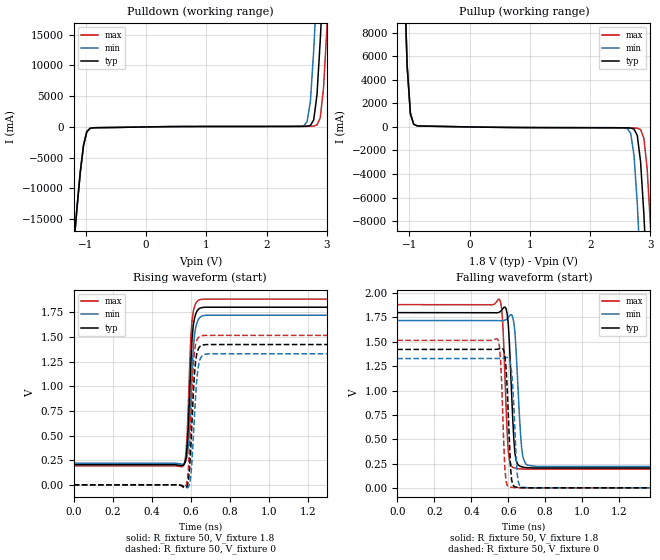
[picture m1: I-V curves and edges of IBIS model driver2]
| IBIS file inv_chain_500ps.ibs created by PYS2IBIS3
| Missouri S&T EMC Lab
[IBIS Ver] 7.1
[File Name] inv_chain_500ps.ibs
[File Rev] 1.0
[Date] Jul 27, 2026
[Source] Eight-stage inv_chain transistor model characterized with s2ibispy
[Notes] Edge-rate sweep; tr=tf=500ps. All other settings match
 inv_chain_fast_5ps.
[Component] invchain
[Manufacturer] s2ibispy study
[Package]
| variable   typ   min   max
R_pkg 0 NA NA
L_pkg 0H NA NA
C_pkg 0F NA NA
[Pin]  signal_name   model_name   R_pin   L_pin   C_pin
VSSQ   VSSQ   Gnd
VCCQ   VCCQ   Power
| IN IN dummy
PAD   PAD   driver2
| End of Component
| Models and submodels in the file (1): driver2 (Output)
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[Model] driver2
Model_type Output
Polarity Non-Inverting
Enable Active-High
Vinl  = 0.8V
Vinh  = 2V
C_comp 0.4680pF NA NA
[Temperature Range] 27.0000 27.0000 27.0000
[Voltage Range] 1.8000V 1.7000V 1.9000V
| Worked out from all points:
|   slope of the pulldown table from 0 to 0.27 V, typ, clamps not added: 6.79 ohm
|   slope of the pullup table from 0 to 0.27 V, typ, clamps not added: 12.6 ohm
|   rising waveform, R_fixture 50, V_fixture 1.8: 20-80 % time 21.1ps typ, 23ps min, 20ps max; typ from 0.204 V to 1.8 V
|   rising waveform, R_fixture 50, V_fixture 0: 20-80 % time 22.2ps typ, 23.6ps min, 21.1ps max; typ from 0 V to 1.42 V
|   falling waveform, R_fixture 50, V_fixture 1.8: 20-80 % time 23.1ps typ, 25.7ps min, 21.5ps max; typ from 1.8 V to 0.204 V
|   falling waveform, R_fixture 50, V_fixture 0: 20-80 % time 19.4ps typ, 20.9ps min, 18.2ps max; typ from 1.42 V to 0 V
[Pulldown]
| Voltage   I(typ)   I(min)   I(max)
-1.8V     -87.88A    -87.88A    -87.88A
-1.2V     -19.4A     -19.4A     -19.4A
-1.036V   -2.952A    -2.948A    -2.955A
-927.3mV  -221.8mA   -216.4mA   -227mA
2.618V    95.77mA    193.1mA    97.15mA
2.727V    244.8mA    4.224A     106.4mA
2.782V    1.151A     12.49A     132.5mA
2.836V    5.27A      23.04A     313.7mA
2.891V    14.25A     33.59A     1.533A
2.946V    24.81A     44.15A     6.464A
3V        35.36A     54.71A     16.02A
3.6V      151.5A     170.8A     132.1A
[Pullup]
| Voltage   I(typ)   I(min)   I(max)
-1.8V     151.4A     151.4A     151.4A
-1.091V   14.2A      14.19A     14.2A
-981.8mV  1.13A      1.129A     1.132A
-872.7mV  99.18mA    97.54mA    100.6mA
2.618V    -78.19mA   -142.5mA   -79.21mA
2.727V    -177.2mA   -2.408A    -86.52mA
2.782V    -728.3mA   -6.523A    -104.6mA
2.836V    -2.952A    -12.18A    -222.3mA
2.891V    -7.391A    -18.4A     -950.7mA
2.946V    -13.22A    -24.62A    -3.561A
3V        -19.44A    -30.85A    -8.297A
3.6V      -87.92A    -99.33A    -76.52A
[Ramp]
| variable   typ   min   max
dV/dt_r 0.8532/0.02165n 0.7968/0.02328n 0.9090/0.0206n
dV/dt_f 0.9575/0.02297n 0.8972/0.02477n 1.0171/0.02134n
R_load = 50
[Rising Waveform]
R_fixture = 50
V_fixture = 1.8
|time   V(typ)   V(min)   V(max)
0s        204.2mV    219.5mV    192.2mV
558.6ps   196.9mV    210.2mV    185.2mV
570.6ps   230.5mV    222.7mV    244mV
582.6ps   423.2mV    309.1mV    562.4mV
600.6ps   1.249V     863mV      1.517V
606.6ps   1.487V     1.136V     1.67V
612.6ps   1.615V     1.372V     1.755V
624.6ps   1.729V     1.591V     1.836V
654.7ps   1.796V     1.708V     1.88V
6ns       1.8V       1.719V     1.882V
[Rising Waveform]
R_fixture = 50
V_fixture = 0
|time   V(typ)   V(min)   V(max)
0s        13.08nV    12.76nV    13.48nV
570.6ps   -29.58mV   -20.41mV   -26.91mV
582.6ps   -5.577mV   -30.07mV   53.01mV
588.6ps   53.47mV    -19.98mV   179.4mV
594.6ps   186.2mV    12.5mV     414.9mV
606.6ps   663.2mV    254.2mV    982.2mV
618.6ps   1.117V     687mV      1.348V
636.6ps   1.369V     1.176V     1.486V
660.7ps   1.417V     1.312V     1.512V
6ns       1.422V     1.328V     1.515V
[Falling Waveform]
R_fixture = 50
V_fixture = 1.8
|time   V(typ)   V(min)   V(max)
0s        1.8V       1.719V     1.882V
552.6ps   1.805V     1.717V     1.939V
570.6ps   1.84V      1.717V     1.694V
588.6ps   1.841V     1.729V     828.6mV
600.6ps   1.68V      1.753V     378.3mV
630.6ps   496.8mV    1.698V     206.8mV
654.7ps   234.3mV    962.1mV    197mV
678.7ps   213.4mV    326.9mV    193.4mV
744.7ps   204.4mV    222.1mV    192.1mV
6ns       204.2mV    219.5mV    192.2mV
[Falling Waveform]
R_fixture = 50
V_fixture = 0
|time   V(typ)   V(min)   V(max)
0s        1.422V     1.328V     1.515V
540.5ps   1.423V     1.328V     1.53V
558.6ps   1.433V     1.328V     1.319V
582.6ps   1.344V     1.335V     177.6mV
594.6ps   1.021V     1.341V     26mV
612.6ps   205.7mV    1.272V     7.157mV
618.6ps   82.58mV    1.19V      5.39mV
648.6ps   5.69mV     146.9mV    1.124mV
684.7ps   923.6uV    5.224mV    128.9uV
6ns       13.08nV    12.76nV    13.49nV
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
